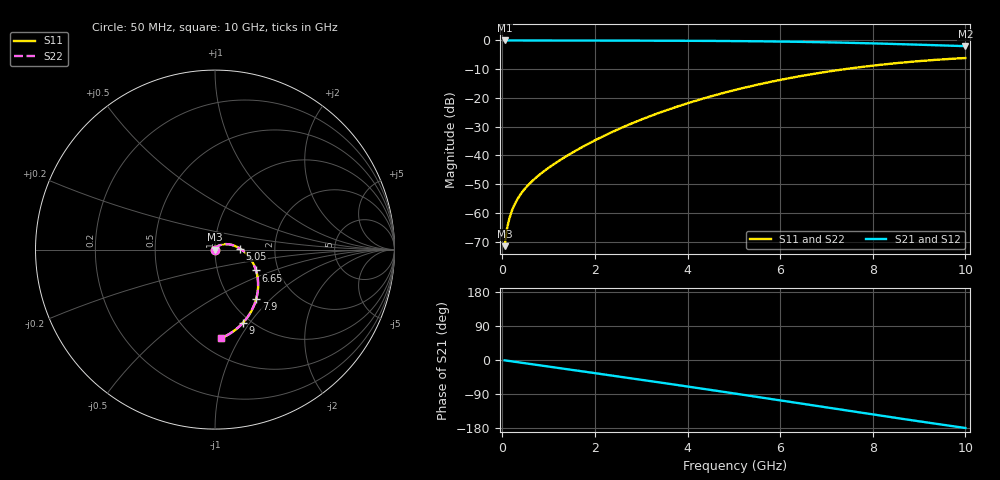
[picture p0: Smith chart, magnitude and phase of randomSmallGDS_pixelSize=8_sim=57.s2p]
! freq	dB(S11)	phase(S11)	dB(S12)	phase(S12)
!  dB(S21)	phase(S21)	dB(S22)	phase(S22)
!S-par simulation data
#  GHz  S  DB  R 50
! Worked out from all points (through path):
!   200 points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, 50 MHz to 10 GHz, reference 50 ohm
!   highest |S21| = 0.00 dB at 50 MHz (marker M1); lowest = -2.0 dB at 10 GHz (marker M2)
!   group delay of S21, straight-line fit = 50.2 ps
!   lowest |S11| = -71.6 dB at 50 MHz (marker M3), VSWR 1.00, Z = 50 + j0.0261 ohm
!   |S11| at or under -10 dB: start of sweep to 7.39 GHz
!   |S22| runs from -71.6 to -6.1 dB; largest |S21 - S12| = 0
!   S11 on the Smith chart (normalised r, x): 50 MHz: 1.00, +0.00; 5.05 GHz: 1.32, +0.02; 6.65 GHz: 1.54, -0.38; 7.9 GHz: 1.31, -0.82; 9 GHz: 0.92, -0.93; 10 GHz: 0.64, -0.84
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0.05  -71.58 81.5  -0.00 -0.9  -0.00 -0.9  -71.57 81.5
0.1  -65.60 84.3  -0.00 -1.7  -0.00 -1.7  -65.60 84.3
0.15  -62.08 84.7  -0.00 -2.6  -0.00 -2.6  -62.08 84.7
0.2  -59.56 84.4  -0.00 -3.5  -0.00 -3.5  -59.56 84.4
0.3  -55.99 83.2  -0.00 -5.2  -0.00 -5.2  -55.99 83.2
0.45  -52.33 81.1  -0.01 -7.8  -0.01 -7.8  -52.33 81.0
0.65  -48.85 78.2  -0.01 -11.3  -0.01 -11.3  -48.85 78.1
0.95  -44.89 73.9  -0.02 -16.5  -0.02 -16.5  -44.89 73.8
1.3  -41.10 68.7  -0.03 -22.5  -0.03 -22.5  -41.10 68.6
1.75  -36.88 61.5  -0.04 -30.3  -0.04 -30.3  -36.88 61.4
2.55  -30.56 47.7  -0.05 -44.3  -0.05 -44.3  -30.57 47.6
3.4  -25.10 32.5  -0.08 -59.2  -0.08 -59.2  -25.10 32.4
4.25  -20.63 17.1  -0.14 -74.4  -0.14 -74.4  -20.63 17.0
5.05  -17.13 2.5  -0.22 -89.0  -0.22 -89.0  -17.13 2.4
5.85  -14.22 -12.2  -0.35 -103.7  -0.35 -103.7  -14.22 -12.3
6.65  -11.82 -27.0  -0.54 -118.6  -0.54 -118.6  -11.82 -27.0
6.7  -11.68 -27.9  -0.55 -119.5  -0.55 -119.5  -11.68 -27.9
7.3  -10.20 -38.9  -0.74 -130.7  -0.74 -130.7  -10.20 -39.0
7.9  -8.95 -49.8  -0.97 -141.8  -0.97 -141.8  -8.95 -49.8
8.35  -8.15 -57.8  -1.17 -150.1  -1.17 -150.1  -8.15 -57.9
9  -7.19 -69.2  -1.48 -161.8  -1.48 -161.8  -7.19 -69.3
10  -6.11 -86.2  -1.98 -179.4  -1.98 -179.4  -6.11 -86.2
